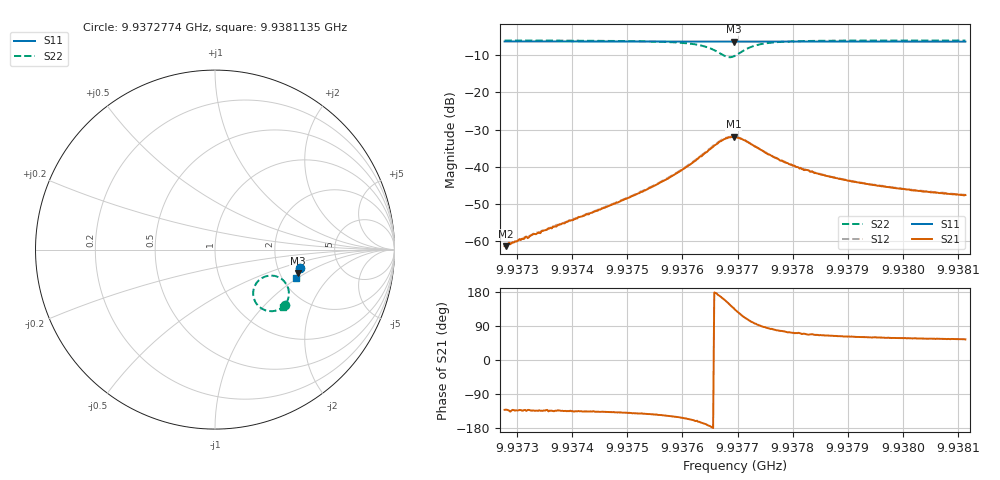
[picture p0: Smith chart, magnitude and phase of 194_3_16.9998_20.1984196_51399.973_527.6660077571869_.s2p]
#  HZ  S  RI  R  50.00
! Rohde & Schwarz Vector Network Analyzer
! Rohde-Schwarz,ZNB20-2Port,1311601062101988,3.16
! Created: UTC 3/20/2024, 11:00:47 PM
! freq[Hz]  re:S11  im:S11  re:S21  im:S21  re:S12  im:S12  re:S22  im:S22
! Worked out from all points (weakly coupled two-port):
!   401 points, 9.9372774 GHz to 9.9381135 GHz, reference 50 ohm
!   highest |S21| = -31.92 dB at 9.9376933 GHz (marker M1); lowest = -61.3 dB at 9.9372795 GHz (marker M2)
!   lowest |S11| = -6.4 dB at 9.9376933 GHz (marker M3), VSWR 2.84, Z = 125 - j42.5 ohm
!   |S11| at or under -10 dB: nowhere
!   |S22| runs from -10.6 to -6.0 dB; largest |S21 - S12| = 0.001
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9.9372774e9  0.4722 -0.1051  -0.000572 -0.000648  -0.000609 -0.000633  0.3902 -0.3088
9.93727949e9  0.4721 -0.1051  -0.000564 -0.000649  -0.000619 -0.000669  0.39 -0.3092
9.93741744e9  0.4692 -0.1146  -0.00154 -0.00151  -0.00158 -0.00152  0.3752 -0.3218
9.93750105e9  0.4673 -0.1204  -0.00291 -0.00246  -0.00298 -0.00245  0.3591 -0.3318
9.93755749e9  0.4658 -0.1241  -0.00492 -0.00346  -0.00505 -0.00345  0.339 -0.3398
9.93760347e9  0.4644 -0.1271  -0.00854 -0.00419  -0.00877 -0.00418  0.3067 -0.3431
9.93764109e9  0.4627 -0.1297  -0.015 -0.00288  -0.0153 -0.00274  0.2547 -0.325
9.93765782e9  0.4619 -0.1305  -0.0193 0.000582  -0.0197 0.000892  0.2253 -0.2924
9.93767245e9  0.4611 -0.1309  -0.0218 0.00655  -0.0222 0.00731  0.2128 -0.24
9.9376829e9  0.4609 -0.1308  -0.0215 0.0122  -0.0212 0.0131  0.2256 -0.1951
9.93769335e9  0.4607 -0.1308  -0.0184 0.0175  -0.0177 0.0182  0.26 -0.1594
9.93769544e9  0.4609 -0.1307  -0.0171 0.0185  -0.0167 0.0192  0.2689 -0.1547
9.93770589e9  0.4612 -0.1311  -0.0119 0.0206  -0.0115 0.0213  0.3136 -0.1445
9.93772052e9  0.4616 -0.132  -0.00547 0.0203  -0.00472 0.0206  0.3633 -0.1587
9.93774351e9  0.4618 -0.1338  0.000307 0.0167  0.000515 0.0168  0.4002 -0.1977
9.93778114e9  0.4612 -0.1368  0.00287 0.0118  0.00322 0.0115  0.4119 -0.2428
9.93780204e9  0.461 -0.1383  0.00324 0.00984  0.00345 0.00989  0.4109 -0.2582
9.93783548e9  0.4603 -0.1407  0.00327 0.00807  0.00349 0.00785  0.407 -0.2751
9.93790446e9  0.4585 -0.1453  0.00307 0.00568  0.0032 0.00567  0.399 -0.2951
9.93797553e9  0.4568 -0.1502  0.00279 0.00453  0.00289 0.00455  0.3913 -0.3073
9.93805286e9  0.4548 -0.1551  0.00252 0.00378  0.00264 0.00378  0.3848 -0.3164
9.93811348e9  0.4531 -0.1591  0.00244 0.0034  0.00247 0.00343  0.3802 -0.3221
